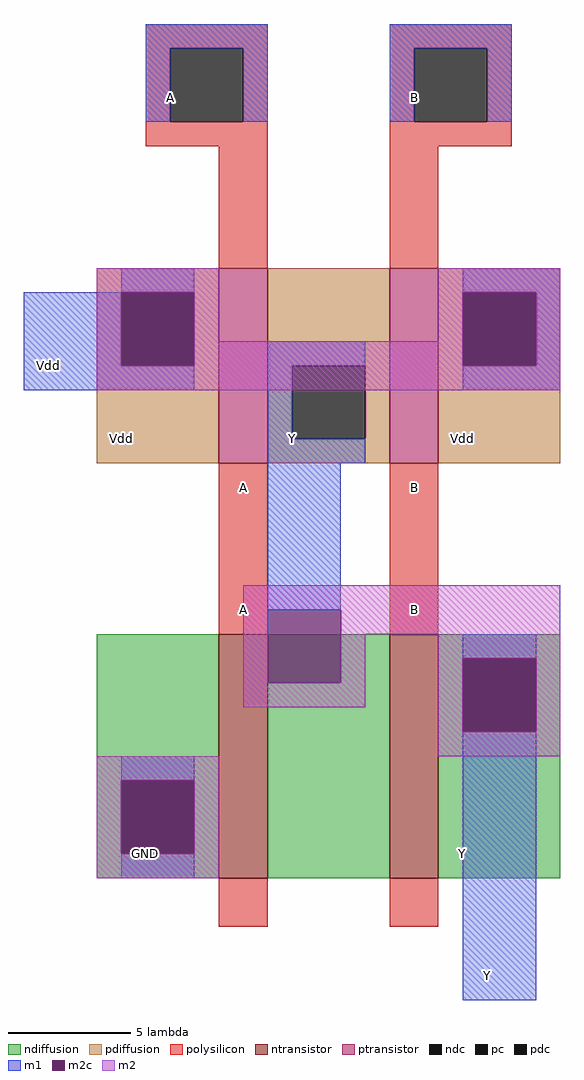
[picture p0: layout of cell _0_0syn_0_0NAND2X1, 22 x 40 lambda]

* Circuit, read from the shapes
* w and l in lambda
.subckt _0_0syn_0_0NAND2X1 GND Vdd B Y A
M1 n1 A GND VSUBS nfet w=10 l=2
M2 Y B n1 VSUBS nfet w=10 l=2
M3 Y A Vdd NWELL pfet w=8 l=2
M4 Vdd B Y NWELL pfet w=8 l=2
.ends

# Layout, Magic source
magic
tech sky130l
<< ndiffusion >>
rect 8 10 13 16
rect 8 7 9 10
rect 12 7 13 10
rect 8 6 13 7
rect 15 6 20 16
rect 22 15 27 16
rect 22 12 23 15
rect 26 12 27 15
rect 22 6 27 12
<< ndc >>
rect 9 7 12 10
rect 23 12 26 15
<< ntransistor >>
rect 13 6 15 16
rect 20 6 22 16
<< pdiffusion >>
rect 8 30 13 31
rect 8 27 9 30
rect 12 27 13 30
rect 8 23 13 27
rect 15 27 20 31
rect 15 24 16 27
rect 19 24 20 27
rect 15 23 20 24
rect 22 30 27 31
rect 22 27 23 30
rect 26 27 27 30
rect 22 23 27 27
<< pdc >>
rect 9 27 12 30
rect 16 24 19 27
rect 23 27 26 30
<< ptransistor >>
rect 13 23 15 31
rect 20 23 22 31
<< polysilicon >>
rect 10 40 15 41
rect 10 37 11 40
rect 14 37 15 40
rect 10 36 15 37
rect 13 31 15 36
rect 20 40 25 41
rect 20 37 21 40
rect 24 37 25 40
rect 20 36 25 37
rect 20 31 22 36
rect 13 16 15 23
rect 20 16 22 23
rect 13 4 15 6
rect 20 4 22 6
<< pc >>
rect 11 37 14 40
rect 21 37 24 40
<< m1 >>
rect 10 40 15 41
rect 10 37 11 40
rect 14 37 15 40
rect 20 40 25 41
rect 20 37 21 40
rect 24 37 25 40
rect 9 30 12 31
rect 5 27 9 30
rect 23 30 27 31
rect 5 26 12 27
rect 15 27 19 28
rect 15 24 16 27
rect 26 27 27 30
rect 23 26 27 27
rect 15 23 19 24
rect 15 17 18 23
rect 23 15 26 16
rect 9 10 12 11
rect 9 6 12 7
rect 23 1 26 12
<< m2c >>
rect 9 27 12 30
rect 23 27 26 30
rect 15 14 18 17
rect 23 12 26 15
rect 9 7 12 10
<< m2 >>
rect 8 30 13 31
rect 8 27 9 30
rect 12 28 13 30
rect 22 30 27 31
rect 22 28 23 30
rect 12 27 23 28
rect 26 27 27 30
rect 8 26 27 27
rect 14 17 27 18
rect 14 14 15 17
rect 18 16 27 17
rect 18 14 19 16
rect 14 13 19 14
rect 22 15 27 16
rect 22 12 23 15
rect 26 12 27 15
rect 22 11 27 12
rect 8 10 13 11
rect 8 7 9 10
rect 12 7 13 10
rect 8 6 13 7
<< labels >>
rlabel ndiffusion 23 7 23 7 3 Y
rlabel pdiffusion 23 24 23 24 3 Vdd
rlabel polysilicon 21 17 21 17 3 B
rlabel polysilicon 21 22 21 22 3 B
rlabel pdiffusion 16 24 16 24 3 Y
rlabel polysilicon 14 22 14 22 3 A
rlabel pdiffusion 9 24 9 24 3 Vdd
rlabel m1 21 38 21 38 3 B
port 3 e
rlabel m1 11 38 11 38 3 A
port 5 e
rlabel m1 6 27 6 27 3 Vdd
port 2 e
rlabel m1 24 2 24 2 3 Y
port 4 e
rlabel m1 10 7 10 7 3 GND
port 1 e
rlabel polysilicon 14 17 14 17 3 A
<< end >>
